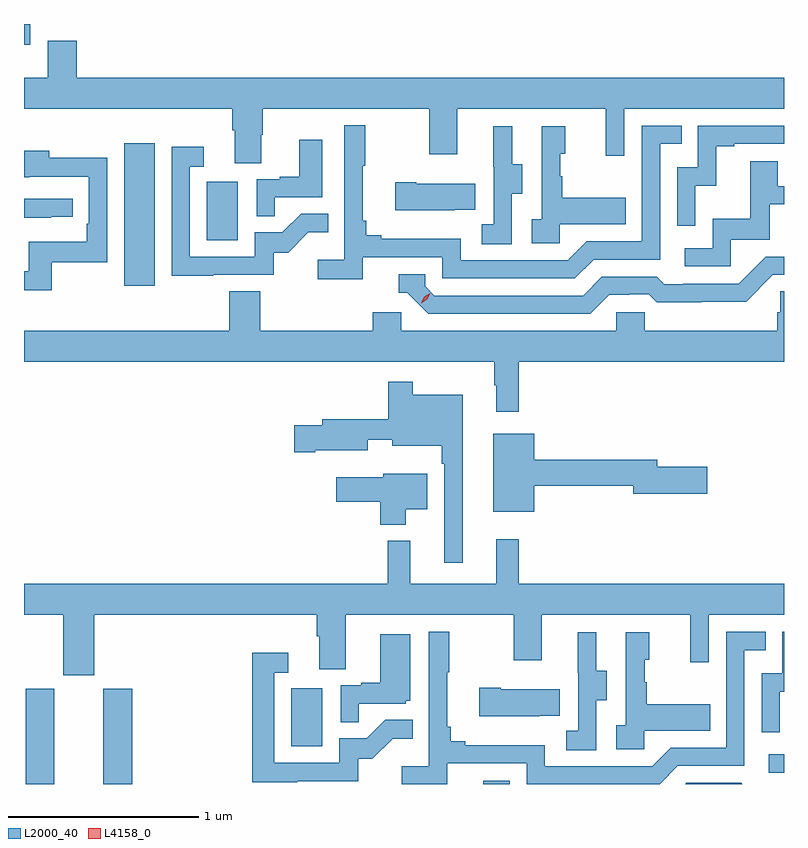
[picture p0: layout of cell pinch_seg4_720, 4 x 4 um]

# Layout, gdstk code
import gdstk
lib = gdstk.Library(unit=1e-6, precision=1e-09)
def R(c, l, rs):  # rectangles x0, y0, x1, y1
    for r in rs: c.add(gdstk.rectangle(r[:2], r[2:], *l))
def P(c, l, *ps):  # polygons
    for p in ps: c.add(gdstk.Polygon(p, *l))
L2000_40 = (2000, 40)
L4158_0 = (4158, 0)

pinch_seg4_720 = lib.new_cell('pinch_seg4_720')
R(pinch_seg4_720, L2000_40, [(844.13,813.246,844.282,813.747), (844.538,813.246,844.691,813.747), (846.539,813.246,846.678,813.264), (848.043,813.306,848.122,813.402), (845.528,813.444,845.692,813.751), (844.649,815.868,844.81,816.619), (845.084,816.108,845.248,816.415), (844.122,817.136,844.156,817.246)])
P(pinch_seg4_720, L2000_40, [(845.371,816.663),(845.379,816.663),(845.379,816.8),(846.256,816.8),(846.256,816.561),(846.403,816.561),(846.403,816.8),(847.184,816.8),(847.184,816.552),(847.281,816.552),(847.281,816.8),(848.122,816.8),(848.122,816.964),(844.4,816.964),(844.4,817.159),(844.247,817.159),(844.247,816.964),(844.122,816.964),(844.122,816.8),(845.219,816.8),(845.219,816.688),(845.231,816.688),(845.231,816.514),(845.371,816.514)],
  [(845.906,816.018),(846.324,816.018),(846.324,815.907),(847.021,815.907),(847.12,816.006),(847.47,816.006),(847.47,816.615),(847.583,816.615),(847.583,816.711),(847.374,816.711),(847.374,816.102),(847.083,816.102),(846.984,816.003),(846.42,816.003),(846.42,816.115),(846.001,816.115),(846.001,816.134),(845.924,816.134),(845.924,816.211),(845.905,816.211),(845.905,816.499),(845.917,816.499),(845.917,816.712),(845.808,816.712),(845.808,816.004),(845.667,816.004),(845.667,815.902),(845.906,815.902)],
  [(847.656,816.395),(847.766,816.395),(847.766,816.603),(847.861,816.603),(847.861,816.615),(848.122,816.615),(848.122,816.711),(847.668,816.711),(847.668,816.492),(847.56,816.492),(847.56,816.183),(847.656,816.183)],
  [(846.942,816.191),(847.289,816.191),(847.289,816.331),(846.955,816.331),(846.955,816.446),(846.945,816.446),(846.945,816.564),(846.97,816.564),(846.97,816.709),(846.846,816.709),(846.846,816.218),(846.795,816.218),(846.795,816.093),(846.942,816.093)],
  [(846.69,816.352),(846.745,816.352),(846.745,816.507),(846.691,816.507),(846.691,816.709),(846.593,816.709),(846.593,816.495),(846.594,816.495),(846.594,816.191),(846.531,816.191),(846.531,816.088),(846.69,816.088)],
  [(845.441,816.333),(845.692,816.333),(845.692,816.637),(845.57,816.637),(845.57,816.442),(845.467,816.442),(845.467,816.429),(845.346,816.429),(845.346,816.235),(845.441,816.235)],
  [(845.117,815.925),(845.436,815.925),(845.436,816.042),(845.512,816.042),(845.619,816.149),(845.723,816.149),(845.723,816.248),(845.58,816.248),(845.482,816.15),(845.337,816.15),(845.337,816.021),(844.995,816.021),(844.995,816.495),(845.068,816.495),(845.068,816.601),(844.899,816.601),(844.899,815.92),(845.117,815.92)],
  [(844.267,815.991),(844.56,815.991),(844.56,816.542),(844.255,816.542),(844.255,816.58),(844.122,816.58),(844.122,816.44),(844.151,816.44),(844.151,816.441),(844.464,816.441),(844.464,816.196),(844.451,816.196),(844.451,816.1),(844.146,816.1),(844.146,815.945),(844.122,815.945),(844.122,815.844),(844.267,815.844)],
  [(847.842,816.111),(848.047,816.111),(848.047,816.297),(848.122,816.297),(848.122,816.393),(848.089,816.393),(848.089,816.523),(847.945,816.523),(847.945,816.22),(847.746,816.22),(847.746,816.066),(847.599,816.066),(847.599,815.97),(847.842,815.97)],
  [(846.389,816.269),(846.497,816.269),(846.497,816.406),(846.187,816.406),(846.187,816.414),(846.075,816.414),(846.075,816.266),(846.389,816.266)],
  [(844.265,816.231),(844.378,816.231),(844.378,816.327),(844.122,816.327),(844.122,816.226),(844.265,816.226)],
  [(847.201,815.82),(847.308,815.82),(847.308,815.823),(847.411,815.823),(847.453,815.781),(847.686,815.781),(847.686,815.783),(847.922,815.783),(848.064,815.925),(848.122,815.925),(848.122,816.021),(848.025,816.021),(847.884,815.88),(847.591,815.88),(847.591,815.877),(847.492,815.877),(847.453,815.916),(847.164,815.916),(847.065,815.817),(846.282,815.817),(846.234,815.865),(846.234,815.928),(846.095,815.928),(846.095,815.832),(846.138,815.832),(846.249,815.721),(847.102,815.721)],
  [(846.725,815.468),(848.122,815.468),(848.122,815.84),(848.101,815.84),(848.101,815.73),(848.087,815.73),(848.087,815.632),(847.389,815.632),(847.389,815.73),(847.239,815.73),(847.239,815.632),(846.108,815.632),(846.108,815.73),(845.957,815.73),(845.957,815.632),(845.366,815.632),(845.366,815.84),(845.201,815.84),(845.201,815.632),(844.122,815.632),(844.122,815.468),(846.597,815.468),(846.597,815.345),(846.608,815.345),(846.608,815.205),(846.725,815.205)],
  [(846.43,815.296),(846.169,815.296),(846.169,815.362),(846.04,815.362),(846.04,815.167),(845.693,815.167),(845.693,815.133),(845.544,815.133),(845.544,814.991),(845.656,814.991),(845.656,815.003),(845.932,815.003),(845.932,815.057),(846.059,815.057),(846.059,815.027),(846.321,815.027),(846.321,814.931),(846.333,814.931),(846.333,814.41),(846.43,814.41)],
  [(846.808,814.816),(847.328,814.816),(847.328,814.774),(847.717,814.774),(847.717,814.916),(847.456,814.916),(847.456,814.952),(846.808,814.952),(846.808,815.089),(846.593,815.089),(846.593,814.679),(846.808,814.679)],
  [(846.13,814.691),(846.244,814.691),(846.244,814.879),(846.012,814.879),(846.012,814.861),(845.766,814.861),(845.766,814.732),(845.996,814.732),(845.996,814.61),(846.13,814.61)],
  [(844.492,814.136),(845.663,814.136),(845.663,814.024),(845.675,814.024),(845.675,813.85),(845.815,813.85),(845.815,814.136),(846.7,814.136),(846.7,813.897),(846.847,813.897),(846.847,814.136),(847.628,814.136),(847.628,813.888),(847.725,813.888),(847.725,814.136),(848.122,814.136),(848.122,814.3),(846.725,814.3),(846.725,814.534),(846.608,814.534),(846.608,814.3),(846.155,814.3),(846.155,814.525),(846.037,814.525),(846.037,814.3),(844.122,814.3),(844.122,814.136),(844.328,814.136),(844.328,813.819),(844.492,813.819)],
  [(846.35,813.354),(846.768,813.354),(846.768,813.246),(847.468,813.246),(847.564,813.342),(847.914,813.342),(847.914,813.951),(848.027,813.951),(848.027,814.047),(847.818,814.047),(847.818,813.438),(847.527,813.438),(847.428,813.339),(846.864,813.339),(846.864,813.451),(846.445,813.451),(846.445,813.47),(846.368,813.47),(846.368,813.547),(846.349,813.547),(846.349,813.835),(846.361,813.835),(846.361,814.048),(846.252,814.048),(846.252,813.34),(846.111,813.34),(846.111,813.246),(846.35,813.246)],
  [(848.1,813.731),(848.122,813.731),(848.122,814.047),(848.112,814.047),(848.112,813.828),(848.004,813.828),(848.004,813.519),(848.1,813.519)],
  [(847.386,813.527),(847.733,813.527),(847.733,813.667),(847.399,813.667),(847.399,813.782),(847.389,813.782),(847.389,813.9),(847.414,813.9),(847.414,814.045),(847.29,814.045),(847.29,813.554),(847.239,813.554),(847.239,813.429),(847.386,813.429)],
  [(847.134,813.688),(847.189,813.688),(847.189,813.843),(847.135,813.843),(847.135,814.045),(847.037,814.045),(847.037,813.831),(847.038,813.831),(847.038,813.527),(846.975,813.527),(846.975,813.424),(847.134,813.424)],
  [(845.885,813.669),(846.132,813.669),(846.132,813.684),(846.154,813.684),(846.154,814.033),(845.996,814.033),(845.996,813.778),(845.897,813.778),(845.897,813.765),(845.79,813.765),(845.79,813.571),(845.885,813.571)],
  [(845.561,813.261),(845.88,813.261),(845.88,813.378),(845.956,813.378),(846.063,813.485),(846.167,813.485),(846.167,813.584),(846.023,813.584),(845.925,813.486),(845.781,813.486),(845.781,813.357),(845.439,813.357),(845.439,813.831),(845.512,813.831),(845.512,813.937),(845.323,813.937),(845.323,813.256),(845.561,813.256)],
  [(846.833,813.605),(846.941,813.605),(846.941,813.745),(846.631,813.745),(846.631,813.753),(846.519,813.753),(846.519,813.602),(846.833,813.602)],
  [(847.897,813.252),(847.608,813.252),(847.602,813.246),(847.903,813.246)])
P(pinch_seg4_720, L4158_0, [(846.213,815.776),(846.213,815.777),(846.229,815.81),(846.26,815.83),(846.26,815.83),(846.26,815.83),(846.244,815.797),(846.213,815.776)])

lib.write_gds('pinch_seg4_720.gds')
